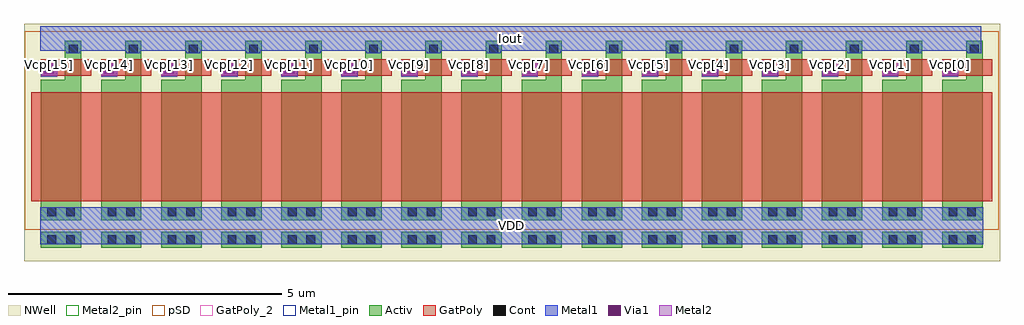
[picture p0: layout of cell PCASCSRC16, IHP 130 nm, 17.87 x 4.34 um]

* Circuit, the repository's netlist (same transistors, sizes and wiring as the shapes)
** sch_path: /home/cmaier/EDA/PUDDING/xschem/pcascsrc16.sch
.subckt pcascsrc16 Vcp[15] Vcp[14] Vcp[13] Vcp[12] Vcp[11] Vcp[10] Vcp[9] Vcp[8] Vcp[7] Vcp[6] Vcp[5] Vcp[4] Vcp[3] Vcp[2] Vcp[1]
+ Vcp[0] Vbp Iout VDD
*.PININFO Vcp[15:0]:I Vbp:I Iout:O VDD:I
xsrc[15] VDD Vbp Vcp[15] Iout VDD pcascsrc
xsrc[14] VDD Vbp Vcp[14] Iout VDD pcascsrc
xsrc[13] VDD Vbp Vcp[13] Iout VDD pcascsrc
xsrc[12] VDD Vbp Vcp[12] Iout VDD pcascsrc
xsrc[11] VDD Vbp Vcp[11] Iout VDD pcascsrc
xsrc[10] VDD Vbp Vcp[10] Iout VDD pcascsrc
xsrc[9] VDD Vbp Vcp[9] Iout VDD pcascsrc
xsrc[8] VDD Vbp Vcp[8] Iout VDD pcascsrc
xsrc[7] VDD Vbp Vcp[7] Iout VDD pcascsrc
xsrc[6] VDD Vbp Vcp[6] Iout VDD pcascsrc
xsrc[5] VDD Vbp Vcp[5] Iout VDD pcascsrc
xsrc[4] VDD Vbp Vcp[4] Iout VDD pcascsrc
xsrc[3] VDD Vbp Vcp[3] Iout VDD pcascsrc
xsrc[2] VDD Vbp Vcp[2] Iout VDD pcascsrc
xsrc[1] VDD Vbp Vcp[1] Iout VDD pcascsrc
xsrc[0] VDD Vbp Vcp[0] Iout VDD pcascsrc
.ends

* expanding   symbol:  pcascsrc.sym # of pins=5
** sym_path: /home/cmaier/EDA/PUDDING/xschem/pcascsrc.sym
** sch_path: /home/cmaier/EDA/PUDDING/xschem/pcascsrc.sch
.subckt pcascsrc VDD VbiasP VcascodeP Iout NWELL
*.PININFO VcascodeP:I VbiasP:I Iout:O VDD:I NWELL:B
Msrc drain VbiasP VDD NWELL sg13_lv_pmos w=0.74u l=2u ng=1 m=1
Mcasc Iout VcascodeP drain NWELL sg13_lv_pmos w=0.3u l=0.3u ng=1 m=1
.ends

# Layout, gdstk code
import gdstk
lib = gdstk.Library(unit=1e-6, precision=1e-09)
def R(c, l, rs):  # rectangles x0, y0, x1, y1
    for r in rs: c.add(gdstk.rectangle(r[:2], r[2:], *l))
def A(c, l, x, y, w, h, nx, ny, dx, dy):  # array of equal rectangles
    R(c, l, [(x+i*dx, y+j*dy, x+i*dx+w, y+j*dy+h) for i in range(nx) for j in range(ny)])
Activ = (1, 0)
GatPoly = (5, 0)
GatPoly_2 = (5, 2)
Cont = (6, 0)
Metal1 = (8, 0)
Metal1_pin = (8, 2)
Metal2 = (10, 0)
Metal2_pin = (10, 2)
pSD = (14, 0)
Via1 = (19, 0)
NWell = (31, 0)

switchedpmoscascode = lib.new_cell('SwitchedPMOSCascode')
R(switchedpmoscascode, Activ, [(0.29,-0.38,0.59,0.49)])
R(switchedpmoscascode, GatPoly, [(-0.15,-0.15,0.77,0.15)])
R(switchedpmoscascode, Cont, [(-0.08,-0.08,0.08,0.08), (0.36,0.26,0.52,0.42)])
R(switchedpmoscascode, Metal1, [(-0.08,-0.13,0.08,0.13), (0.31,0.26,0.57,0.42)])
R(switchedpmoscascode, pSD, [(-0.01,-0.56,0.89,0.67)])
R(switchedpmoscascode, NWell, [(-0.03,-0.79,0.91,0.8)])

via_stack_1 = lib.new_cell('via_stack$1')
R(via_stack_1, Metal1, [(-0.145,-0.145,0.145,0.145)])
R(via_stack_1, Metal2, [(-0.145,-0.145,0.145,0.145)])
R(via_stack_1, Via1, [(-0.095,-0.095,0.095,0.095)])

pcascsrc = lib.new_cell('PCASCSRC')
R(pcascsrc, Activ, [(-0.15,-3.3,0.59,-3), (-0.15,-2.79,0.59,-0.22)])
R(pcascsrc, GatPoly, [(-0.33,-2.45,0.77,-0.45)])
R(pcascsrc, GatPoly_2, [(-0.33,-2.45,0.77,-0.45)])
R(pcascsrc, Cont, [(-0.03,-3.23,0.13,-3.07), (0.31,-3.23,0.47,-3.07), (-0.03,-2.72,0.13,-2.56), (0.31,-2.72,0.47,-2.56)])
R(pcascsrc, Metal1, [(-0.08,-3.23,0.52,-2.56), (-0.15,-0.17,0.15,0.13)])
R(pcascsrc, Metal1_pin, [(-0.08,-3.23,0.52,-2.56), (0.31,0.26,0.57,0.42)])
R(pcascsrc, Metal2_pin, [(-0.145,-0.16,0.145,0.13)])
R(pcascsrc, pSD, [(-0.45,-2.97,0.89,-0.04)])
R(pcascsrc, NWell, [(-0.46,-3.54,0.9,0.09)])
pcascsrc.add(gdstk.Reference(switchedpmoscascode, (0,0)))
pcascsrc.add(gdstk.Reference(via_stack_1, (0,-0.015)))
pcascsrc.add(gdstk.Label('VDD', (0.22,-2.895), layer=8, texttype=2))
pcascsrc.add(gdstk.Label('VcascodeP', (0,0), layer=8, texttype=2))
pcascsrc.add(gdstk.Label('Iout', (0.44,0.34), layer=8, texttype=2))
pcascsrc.add(gdstk.Label('VcascodeP', (0,-0.015), layer=10, texttype=2))
pcascsrc.add(gdstk.Label('VbiasP', (0.22,-1.45), layer=5, texttype=2))

pcascsrc16 = lib.new_cell('PCASCSRC16')
R(pcascsrc16, Metal1, [(-0.16,-3.23,17.1,-2.56), (-0.16,0.31,17.07,0.76)])
R(pcascsrc16, Metal1_pin, [(-0.16,-3.23,17.1,-2.56), (-0.16,0.31,17.07,0.76)])
A(pcascsrc16, Metal2_pin, -0.145, -0.16, 0.29, 0.29, 16, 1, 1.1, 0)
R(pcascsrc16, pSD, [(-0.45,-0.56,17.39,0.67)])
R(pcascsrc16, NWell, [(-0.46,-3.54,17.41,0.8)])
r = gdstk.Reference(pcascsrc, (0,0)); r.repetition = gdstk.Repetition(16, 1, v1=(1.1,0), v2=(0,0)); pcascsrc16.add(r)
pcascsrc16.add(gdstk.Label('Iout', (8.455,0.535), layer=8, texttype=2))
pcascsrc16.add(gdstk.Label('VDD', (8.47,-2.895), layer=8, texttype=2))
pcascsrc16.add(gdstk.Label('Vcp[15]', (0,0.06), layer=10, texttype=2))
pcascsrc16.add(gdstk.Label('Vcp[14]', (1.1,0.06), layer=10, texttype=2))
pcascsrc16.add(gdstk.Label('Vcp[13]', (2.2,0.06), layer=10, texttype=2))
pcascsrc16.add(gdstk.Label('Vcp[12]', (3.3,0.06), layer=10, texttype=2))
pcascsrc16.add(gdstk.Label('Vcp[11]', (4.4,0.06), layer=10, texttype=2))
pcascsrc16.add(gdstk.Label('Vcp[10]', (5.5,0.06), layer=10, texttype=2))
pcascsrc16.add(gdstk.Label('Vcp[9]', (6.6,0.06), layer=10, texttype=2))
pcascsrc16.add(gdstk.Label('Vcp[8]', (7.7,0.06), layer=10, texttype=2))
pcascsrc16.add(gdstk.Label('Vcp[7]', (8.8,0.06), layer=10, texttype=2))
pcascsrc16.add(gdstk.Label('Vcp[6]', (9.9,0.06), layer=10, texttype=2))
pcascsrc16.add(gdstk.Label('Vcp[5]', (11,0.06), layer=10, texttype=2))
pcascsrc16.add(gdstk.Label('Vcp[4]', (12.1,0.06), layer=10, texttype=2))
pcascsrc16.add(gdstk.Label('Vcp[3]', (13.2,0.06), layer=10, texttype=2))
pcascsrc16.add(gdstk.Label('Vcp[2]', (14.3,0.06), layer=10, texttype=2))
pcascsrc16.add(gdstk.Label('Vcp[1]', (15.4,0.06), layer=10, texttype=2))
pcascsrc16.add(gdstk.Label('Vcp[0]', (16.5,0.06), layer=10, texttype=2))
pcascsrc16.add(gdstk.Label('VDD', (8.47,-2.895), layer=8, texttype=1))

lib.write_gds('PCASCSRC16.gds')
